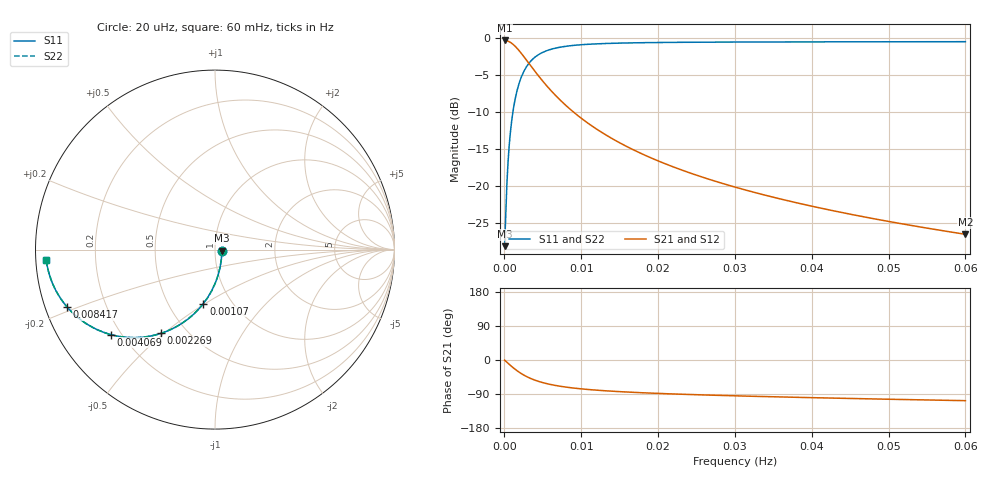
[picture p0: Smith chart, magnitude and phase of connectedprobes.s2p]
# GHz S MA R 50
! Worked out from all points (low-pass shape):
!   401 points, 20 uHz to 60 mHz, reference 50 ohm
!   highest |S21| = -0.34 dB at 20 uHz (marker M1); lowest = -26.6 dB at 60 mHz (marker M2)
!   |S21| within 3 dB of the highest: start of sweep to 3.112 mHz
!   lowest |S11| = -28.2 dB at 20 uHz (marker M3), VSWR 1.08, Z = 54 - j0.68 ohm
!   |S11| at or under -10 dB: start of sweep to 1.106 mHz
!   |S22| runs from -28.2 to -0.5 dB; largest |S21 - S12| = 0
!   S11 on the Smith chart (normalised r, x): 20 uHz: 1.08, -0.01; 1.07 mHz: 0.74, -0.49; 2.269 mHz: 0.36, -0.49; 4.069 mHz: 0.16, -0.35; 8.417 mHz: 0.06, -0.19; 60 mHz: 0.03, -0.03
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2e-14  0.03893 -9.3  0.9615 -0.4  0.9615 -0.4  0.03893 -9.3
1.6995e-13  0.06404 -56.3  0.9601 -3.2  0.9601 -3.2  0.06404 -56.3
4.6985e-13  0.1454 -83.4  0.9508 -8.7  0.9508 -8.7  0.1454 -83.4
6.198e-13  0.1874 -89.6  0.9431 -11.5  0.9431 -11.5  0.1874 -89.6
7.6975e-13  0.2287 -94.5  0.9335 -14.1  0.9335 -14.1  0.2287 -94.5
1.06965e-12  0.3077 -102.1  0.9096 -19.3  0.9096 -19.3  0.3077 -102.1
1.36955e-12  0.3803 -108.4  0.8804 -24.2  0.8804 -24.2  0.3803 -108.4
1.66945e-12  0.4458 -113.8  0.8478 -28.7  0.8478 -28.7  0.4458 -113.8
2.26925e-12  0.5551 -122.8  0.7776 -36.8  0.7776 -36.8  0.5551 -122.8
3.019e-12  0.6558 -131.6  0.691 -45.1  0.691 -45.1  0.6558 -131.6
4.06865e-12  0.7481 -140.7  0.585 -53.9  0.585 -53.9  0.7481 -140.7
4.96835e-12  0.7982 -146.4  0.5112 -59.6  0.5112 -59.6  0.7982 -146.4
5.86805e-12  0.8322 -150.7  0.4512 -64.1  0.4512 -64.1  0.8322 -150.7
7.06765e-12  0.8622 -155.1  0.388 -68.7  0.388 -68.7  0.8622 -155.1
8.4172e-12  0.8837 -158.7  0.3338 -72.6  0.3338 -72.6  0.8837 -158.7
1.006665e-11  0.9002 -162.0  0.2842 -76.3  0.2842 -76.3  0.9002 -162.0
1.456515e-11  0.9216 -167.3  0.2006 -83.0  0.2006 -83.0  0.9216 -167.3
2.01133e-11  0.9315 -170.7  0.1463 -88.2  0.1463 -88.2  0.9315 -170.7
3.001e-11  0.9379 -173.6  0.09779 -94.5  0.09779 -94.5  0.9379 -173.6
4.005665e-11  0.9405 -175.1  0.07251 -99.4  0.07251 -99.4  0.9405 -175.1
5.01033e-11  0.9421 -176.0  0.05711 -103.6  0.05711 -103.6  0.9421 -176.0
6e-11  0.9433 -176.5  0.04684 -107.3  0.04684 -107.3  0.9433 -176.5
